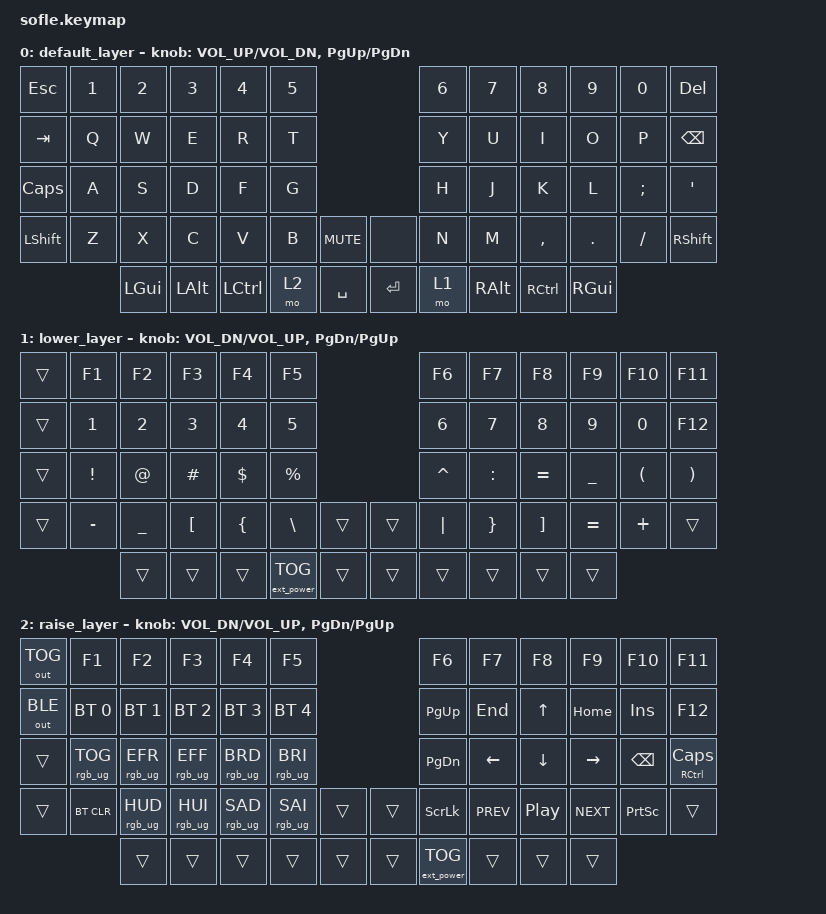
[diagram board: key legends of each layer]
/*
 * Copyright (c) 2020 The ZMK Contributors
 * 
 * SPDX-License-Identifier: MIT
 */

#include <behaviors.dtsi>
#include <dt-bindings/zmk/keys.h>
#include <dt-bindings/zmk/bt.h>
#include <dt-bindings/zmk/ext_power.h>
#include <dt-bindings/zmk/rgb.h>
#include <dt-bindings/zmk/outputs.h>


#include <dt-bindings/led/led.h>

#include <dt-bindings/led/led.h>

&pinctrl {
    spi3_default: spi3_default {
        group1 {
            psels = <NRF_PSEL(SPIM_MOSI, 0, 6)>;
        };
    };

    spi3_sleep: spi3_sleep {
        group1 {
            psels = <NRF_PSEL(SPIM_MOSI, 0, 6)>;
            low-power-enable;
        };
    };
};

&spi3 {
  compatible = "nordic,nrf-spim";
  status = "okay";

  pinctrl-0 = <&spi3_default>;
  pinctrl-1 = <&spi3_sleep>;
  pinctrl-names = "default", "sleep";

  led_strip: ws2812@0 {
    compatible = "worldsemi,ws2812-spi";
    label = "WS2812";

    /* SPI */
    reg = <0>; /* ignored, but necessary for SPI bindings */
    spi-max-frequency = <4000000>;

    /* WS2812 */
    chain-length = <29>; /* number of LEDs */
    spi-one-frame = <0x70>;
    spi-zero-frame = <0x40>;
    color-mapping = <LED_COLOR_ID_GREEN
                          LED_COLOR_ID_RED
                          LED_COLOR_ID_BLUE>;
  };
};

/ {
	chosen {
		zmk,underglow = &led_strip;
	};
};

/ {
    macros {
        ms_selall: selall {
            label = "selall";
            compatible = "zmk,behavior-macro";
            #binding-cells = <0>;
            bindings
                = <&macro_press &kp LCTRL>
                , <&macro_tap &kp A>
                , <&macro_release &kp LCTRL>
                ;
        };
    };
};

/ {
    macros {
        ms_copy: ms_copy {
            label = "ms_copy";
            compatible = "zmk,behavior-macro";
            #binding-cells = <0>;
            bindings
                = <&macro_press &kp LCTRL>
                , <&macro_tap &kp C>
                , <&macro_release &kp LCTRL>
                ;
        };
    };
};

/ {
    macros {
        ms_paste: ms_paste {
            label = "ms_paste";
            compatible = "zmk,behavior-macro";
            #binding-cells = <0>;
            bindings
                = <&macro_press &kp LCTRL>
                , <&macro_tap &kp V>
                , <&macro_release &kp LCTRL>
                ;
        };
    };
};




/ {
    keymap {
        compatible = "zmk,keymap";

        default_layer {
// ------------------------------------------------------------------------------------------------------------
// |  ESC    |  1  |  2  |  3   |  4   |  5   |                   |  6   |  7    |  8    |  9   |   0   | DEL |
// |  TAB  |  Q  |  W  |  E   |  R   |  T   |                   |  Y   |  U    |  I    |  O   |   P   | BKSPC |
// |  CAPS  |  A  |  S  |  D   |  F   |  G   |                   |  H   |  J    |  K    |  L   |   ;   |   '   |
// | SHIFT |  Z  |  X  |  C   |  V   |  B   |  MUTE  |  |       |  N   |  M    |  ,    |  .   |   /   | SHIFT |
//               | GUI | ALT  | CTRL | RAISE|  SPACE |  | ENTER | LOWER| ALT  | CTRL   | GUI  |
            bindings = <
&kp ESC &kp N1 &kp N2   &kp N3   &kp N4    &kp N5                      &kp N6 &kp N7    &kp N8    &kp N9   &kp N0   &kp DEL
&kp TAB   &kp Q  &kp W    &kp E    &kp R     &kp T                       &kp Y  &kp U     &kp I     &kp O    &kp P    &kp BSPC
&kp CLCK   &kp A  &kp S    &kp D    &kp F     &kp G                       &kp H  &kp J     &kp K     &kp L    &kp SEMI &kp SQT
&kp LSHFT &kp Z  &kp X  &kp C   &kp V     &kp B  &kp C_MUTE &none     &kp N  &kp M     &kp COMMA &kp DOT  &kp FSLH &kp RSHFT
                 &kp LGUI &kp LALT &kp LCTRL &mo 2  &kp SPACE    &kp RET &mo 1  &kp RALT &kp RCTRL  &kp RGUI
            >;

            sensor-bindings = <&inc_dec_kp C_VOL_UP C_VOL_DN &inc_dec_kp PG_UP PG_DN>;
        };

        lower_layer {
// ------------------------------------------------------------------------------------------------------------
// |       |  F1 |  F2 |  F3  |  F4  |  F5  |                   |  F6  |  F7   |  F8   |  F9  |  F10  |  F11  |
// |       |   1 |   2 |   3  |   4  |   5  |                   |   6  |   7   |   8   |   9  |    0  |  F12  |
// |       |  !  |  @  |  #   |  $   |  %   |                   |  ^   |  :    |  =    |  _   |   (   |   )   |
// |       |  -  |  _  |  [   |  {   |  \   |        |  |       |  |   |  }    |  ]    |  =   |   +   |       |
//               |     |      |      |      |        |  |       |      |       |       |      |
            bindings = <
&trans &kp F1    &kp F2    &kp F3   &kp F4    &kp F5                           &kp F6    &kp F7   &kp F8          &kp F9    &kp F10   &kp F11
&trans &kp N1    &kp N2    &kp N3   &kp N4    &kp N5                           &kp N6    &kp N7   &kp N8          &kp N9    &kp N0    &kp F12
&trans &kp EXCL  &kp AT    &kp HASH &kp DLLR  &kp PRCNT                        &kp CARET &kp COLON &kp EQUAL &kp UNDER  &kp LPAR  &kp RPAR
&trans &kp MINUS &kp UNDER &kp LBKT &kp LBRC  &kp BSLH          &trans  &trans &kp PIPE  &kp RBRC &kp RBKT        &kp EQUAL &kp PLUS  &trans
                 &trans    &trans   &trans    &ext_power EP_TOG &trans  &trans &trans    &trans   &trans          &trans
            >;

            sensor-bindings = <&inc_dec_kp C_VOL_DN C_VOL_UP &inc_dec_kp PG_DN PG_UP>;
        };

        raise_layer {
// ------------------------------------------------------------------------------------------------------------
// |OUT-T|  F1  |  F2  |  F3   |  F4   |  F5  |                |  F6  |  F7  |  F8   |  F9  |  F10  |  F11  |
// |OUT_B| BT1  | BT2  |  BT3  |  BT4  |  BT5 |                | PGUP |  END |   ^   | HOME |  INS  |  F12  |
// |     | RGBT | RGB- | RGB+  |  BR-  |  BR+ |                | PGDN |   <- |   v   | ->   |  BSPC  | C/CAPS|
// |     |BTCLR | HUD  | HUI   |  SAD  |  SAI |      |  |      | SCRL | PRVS | PLAY  | NEXT |  PSCR |       |
//              |      |       |       |      |      |  |      |      |      |       |      |
            bindings = <
&out OUT_TOG &kp F1          &kp F2          &kp F3          &kp F4          &kp F5                         &kp F6             &kp F7     &kp F8   &kp F9     &kp F10   &kp F11
&out OUT_BLE &bt BT_SEL 0    &bt BT_SEL 1    &bt BT_SEL 2    &bt BT_SEL 3    &bt BT_SEL 4                   &kp PG_UP          &kp END    &kp UP   &kp HOME   &kp INS   &kp F12
&trans &rgb_ug RGB_TOG &rgb_ug RGB_EFR &rgb_ug RGB_EFF &rgb_ug RGB_BRD &rgb_ug RGB_BRI                &kp PG_DN          &kp LEFT   &kp DOWN &kp RIGHT  &kp BSPC   &mt RCTRL CLCK
&trans &bt BT_CLR      &rgb_ug RGB_HUD &rgb_ug RGB_HUI &rgb_ug RGB_SAD &rgb_ug RGB_SAI &trans  &trans &kp SLCK           &kp C_PREV &kp C_PP &kp C_NEXT &kp PSCRN &trans
                       &trans          &trans          &trans          &trans          &trans  &trans &ext_power EP_TOG  &trans     &trans   &trans
            >;

            sensor-bindings = <&inc_dec_kp C_VOL_DN C_VOL_UP &inc_dec_kp PG_DN PG_UP>;
        };
    };
};
